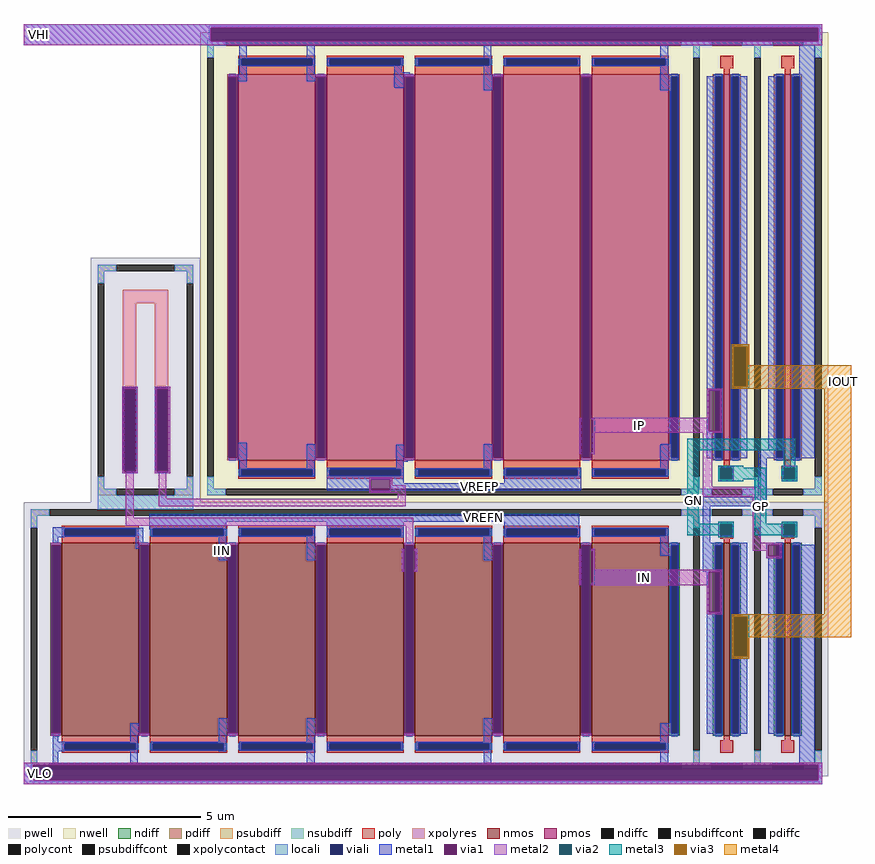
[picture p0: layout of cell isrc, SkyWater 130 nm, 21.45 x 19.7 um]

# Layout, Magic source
magic
tech sky130A
magscale 1 2
<< nwell >>
rect 716 3220 3972 5658
<< pwell >>
rect 148 3220 716 4488
rect -200 1800 3972 3220
<< nmos >>
rect -4 2010 396 3010
rect 454 2010 854 3010
rect 912 2010 1312 3010
rect 1370 2010 1770 3010
rect 1828 2010 2228 3010
rect 2286 2010 2686 3010
rect 2744 2010 3144 3010
rect 3430 2010 3460 3010
rect 3746 2010 3776 3010
<< pmos >>
rect 912 3439 1312 5439
rect 1370 3439 1770 5439
rect 1828 3439 2228 5439
rect 2286 3439 2686 5439
rect 2744 3439 3144 5439
rect 3430 3439 3460 5439
rect 3746 3439 3776 5439
<< ndiff >>
rect -62 2998 -4 3010
rect -62 2022 -50 2998
rect -16 2022 -4 2998
rect -62 2010 -4 2022
rect 396 2998 454 3010
rect 396 2022 408 2998
rect 442 2022 454 2998
rect 396 2010 454 2022
rect 854 2998 912 3010
rect 854 2022 866 2998
rect 900 2022 912 2998
rect 854 2010 912 2022
rect 1312 2998 1370 3010
rect 1312 2022 1324 2998
rect 1358 2022 1370 2998
rect 1312 2010 1370 2022
rect 1770 2998 1828 3010
rect 1770 2022 1782 2998
rect 1816 2022 1828 2998
rect 1770 2010 1828 2022
rect 2228 2998 2286 3010
rect 2228 2022 2240 2998
rect 2274 2022 2286 2998
rect 2228 2010 2286 2022
rect 2686 2998 2744 3010
rect 2686 2022 2698 2998
rect 2732 2022 2744 2998
rect 2686 2010 2744 2022
rect 3144 2998 3202 3010
rect 3144 2022 3156 2998
rect 3190 2022 3202 2998
rect 3144 2010 3202 2022
rect 3372 2998 3430 3010
rect 3372 2022 3384 2998
rect 3418 2022 3430 2998
rect 3372 2010 3430 2022
rect 3460 2998 3518 3010
rect 3460 2022 3472 2998
rect 3506 2022 3518 2998
rect 3460 2010 3518 2022
rect 3688 2998 3746 3010
rect 3688 2022 3700 2998
rect 3734 2022 3746 2998
rect 3688 2010 3746 2022
rect 3776 2998 3834 3010
rect 3776 2022 3788 2998
rect 3822 2022 3834 2998
rect 3776 2010 3834 2022
<< pdiff >>
rect 854 5427 912 5439
rect 854 3451 866 5427
rect 900 3451 912 5427
rect 854 3439 912 3451
rect 1312 5427 1370 5439
rect 1312 3451 1324 5427
rect 1358 3451 1370 5427
rect 1312 3439 1370 3451
rect 1770 5427 1828 5439
rect 1770 3451 1782 5427
rect 1816 3451 1828 5427
rect 1770 3439 1828 3451
rect 2228 5427 2286 5439
rect 2228 3451 2240 5427
rect 2274 3451 2286 5427
rect 2228 3439 2286 3451
rect 2686 5427 2744 5439
rect 2686 3451 2698 5427
rect 2732 3451 2744 5427
rect 2686 3439 2744 3451
rect 3144 5427 3202 5439
rect 3144 3451 3156 5427
rect 3190 3451 3202 5427
rect 3144 3439 3202 3451
rect 3372 5427 3430 5439
rect 3372 3451 3384 5427
rect 3418 3451 3430 5427
rect 3372 3439 3430 3451
rect 3460 5427 3518 5439
rect 3460 3451 3472 5427
rect 3506 3451 3518 5427
rect 3460 3439 3518 3451
rect 3688 5427 3746 5439
rect 3688 3451 3700 5427
rect 3734 3451 3746 5427
rect 3688 3439 3746 3451
rect 3776 5427 3834 5439
rect 3776 3451 3788 5427
rect 3822 3451 3834 5427
rect 3776 3439 3834 3451
<< ndiffc >>
rect -50 2022 -16 2998
rect 408 2022 442 2998
rect 866 2022 900 2998
rect 1324 2022 1358 2998
rect 1782 2022 1816 2998
rect 2240 2022 2274 2998
rect 2698 2022 2732 2998
rect 3156 2022 3190 2998
rect 3384 2022 3418 2998
rect 3472 2022 3506 2998
rect 3700 2022 3734 2998
rect 3788 2022 3822 2998
<< pdiffc >>
rect 866 3451 900 5427
rect 1324 3451 1358 5427
rect 1782 3451 1816 5427
rect 2240 3451 2274 5427
rect 2698 3451 2732 5427
rect 3156 3451 3190 5427
rect 3384 3451 3418 5427
rect 3472 3451 3506 5427
rect 3700 3451 3734 5427
rect 3788 3451 3822 5427
<< psubdiff >>
rect 184 4418 280 4452
rect 584 4418 680 4452
rect 184 4356 218 4418
rect 646 4356 680 4418
rect 184 3290 218 3352
rect 646 3290 680 3352
rect 184 3256 280 3290
rect 584 3256 680 3290
rect -164 3150 -68 3184
rect 3208 3150 3366 3184
rect 3524 3150 3682 3184
rect 3840 3150 3936 3184
rect -164 3088 -130 3150
rect 3270 3088 3304 3150
rect -164 1870 -130 1932
rect 3586 3088 3620 3150
rect 3270 1870 3304 1932
rect 3902 3088 3936 3150
rect 3586 1870 3620 1932
rect 3902 1870 3936 1932
rect -164 1836 -68 1870
rect 3208 1836 3366 1870
rect 3524 1836 3682 1870
rect 3840 1836 3936 1870
<< nsubdiff >>
rect 752 5588 848 5622
rect 3208 5588 3366 5622
rect 3524 5588 3682 5622
rect 3840 5588 3936 5622
rect 752 5526 786 5588
rect 3270 5526 3304 5588
rect 752 3290 786 3352
rect 3586 5526 3620 5588
rect 3270 3290 3304 3352
rect 3902 5526 3936 5588
rect 3586 3290 3620 3352
rect 3902 3290 3936 3352
rect 752 3256 848 3290
rect 3208 3256 3366 3290
rect 3524 3256 3682 3290
rect 3840 3256 3936 3290
<< psubdiffcont >>
rect 280 4418 584 4452
rect 184 3352 218 4356
rect 646 3352 680 4356
rect 280 3256 584 3290
rect -68 3150 3208 3184
rect 3366 3150 3524 3184
rect 3682 3150 3840 3184
rect -164 1932 -130 3088
rect 3270 1932 3304 3088
rect 3586 1932 3620 3088
rect 3902 1932 3936 3088
rect -68 1836 3208 1870
rect 3366 1836 3524 1870
rect 3682 1836 3840 1870
<< nsubdiffcont >>
rect 848 5588 3208 5622
rect 3366 5588 3524 5622
rect 3682 5588 3840 5622
rect 752 3352 786 5526
rect 3270 3352 3304 5526
rect 3586 3352 3620 5526
rect 3902 3352 3936 5526
rect 848 3256 3208 3290
rect 3366 3256 3524 3290
rect 3682 3256 3840 3290
<< poly >>
rect 912 5520 1312 5536
rect 912 5486 928 5520
rect 1296 5486 1312 5520
rect 912 5439 1312 5486
rect 1370 5520 1770 5536
rect 1370 5486 1386 5520
rect 1754 5486 1770 5520
rect 1370 5439 1770 5486
rect 1828 5520 2228 5536
rect 1828 5486 1844 5520
rect 2212 5486 2228 5520
rect 1828 5439 2228 5486
rect 2286 5520 2686 5536
rect 2286 5486 2302 5520
rect 2670 5486 2686 5520
rect 2286 5439 2686 5486
rect 2744 5520 3144 5536
rect 2744 5486 2760 5520
rect 3128 5486 3144 5520
rect 2744 5439 3144 5486
rect 912 3392 1312 3439
rect 912 3358 928 3392
rect 1296 3358 1312 3392
rect 912 3342 1312 3358
rect 1370 3392 1770 3439
rect 1370 3358 1386 3392
rect 1754 3358 1770 3392
rect 1370 3342 1770 3358
rect 1828 3392 2228 3439
rect 1828 3358 1844 3392
rect 2212 3358 2228 3392
rect 1828 3342 2228 3358
rect 2286 3392 2686 3439
rect 2286 3358 2302 3392
rect 2670 3358 2686 3392
rect 2286 3342 2686 3358
rect 2744 3392 3144 3439
rect 2744 3358 2760 3392
rect 3128 3358 3144 3392
rect 2744 3342 3144 3358
rect 3412 5470 3478 5536
rect 3430 5439 3460 5470
rect 3430 3408 3460 3439
rect 3412 3392 3478 3408
rect 3412 3358 3428 3392
rect 3462 3358 3478 3392
rect 3412 3342 3478 3358
rect 3728 5470 3794 5536
rect 3746 5439 3776 5470
rect 3746 3408 3776 3439
rect 3728 3392 3794 3408
rect 3728 3358 3744 3392
rect 3778 3358 3794 3392
rect 3728 3342 3794 3358
rect -4 3082 396 3098
rect -4 3048 12 3082
rect 380 3048 396 3082
rect -4 3010 396 3048
rect 454 3082 854 3098
rect 454 3048 470 3082
rect 838 3048 854 3082
rect 454 3010 854 3048
rect 912 3082 1312 3098
rect 912 3048 928 3082
rect 1296 3048 1312 3082
rect 912 3010 1312 3048
rect 1370 3082 1770 3098
rect 1370 3048 1386 3082
rect 1754 3048 1770 3082
rect 1370 3010 1770 3048
rect 1828 3082 2228 3098
rect 1828 3048 1844 3082
rect 2212 3048 2228 3082
rect 1828 3010 2228 3048
rect 2286 3082 2686 3098
rect 2286 3048 2302 3082
rect 2670 3048 2686 3082
rect 2286 3010 2686 3048
rect 2744 3082 3144 3098
rect 2744 3048 2760 3082
rect 3128 3048 3144 3082
rect 2744 3010 3144 3048
rect -4 1972 396 2010
rect -4 1938 12 1972
rect 380 1938 396 1972
rect -4 1922 396 1938
rect 454 1972 854 2010
rect 454 1938 470 1972
rect 838 1938 854 1972
rect 454 1922 854 1938
rect 912 1972 1312 2010
rect 912 1938 928 1972
rect 1296 1938 1312 1972
rect 912 1922 1312 1938
rect 1370 1972 1770 2010
rect 1370 1938 1386 1972
rect 1754 1938 1770 1972
rect 1370 1922 1770 1938
rect 1828 1972 2228 2010
rect 1828 1938 1844 1972
rect 2212 1938 2228 1972
rect 1828 1922 2228 1938
rect 2286 1972 2686 2010
rect 2286 1938 2302 1972
rect 2670 1938 2686 1972
rect 2286 1922 2686 1938
rect 2744 1972 3144 2010
rect 2744 1938 2760 1972
rect 3128 1938 3144 1972
rect 2744 1922 3144 1938
rect 3412 3082 3478 3098
rect 3412 3048 3428 3082
rect 3462 3048 3478 3082
rect 3412 3032 3478 3048
rect 3430 3010 3460 3032
rect 3430 1988 3460 2010
rect 3412 1922 3478 1988
rect 3728 3082 3794 3098
rect 3728 3048 3744 3082
rect 3778 3048 3794 3082
rect 3728 3032 3794 3048
rect 3746 3010 3776 3032
rect 3746 1988 3776 2010
rect 3728 1922 3794 1988
<< polycont >>
rect 928 5486 1296 5520
rect 1386 5486 1754 5520
rect 1844 5486 2212 5520
rect 2302 5486 2670 5520
rect 2760 5486 3128 5520
rect 928 3358 1296 3392
rect 1386 3358 1754 3392
rect 1844 3358 2212 3392
rect 2302 3358 2670 3392
rect 2760 3358 3128 3392
rect 3428 3358 3462 3392
rect 3744 3358 3778 3392
rect 12 3048 380 3082
rect 470 3048 838 3082
rect 928 3048 1296 3082
rect 1386 3048 1754 3082
rect 1844 3048 2212 3082
rect 2302 3048 2670 3082
rect 2760 3048 3128 3082
rect 12 1938 380 1972
rect 470 1938 838 1972
rect 928 1938 1296 1972
rect 1386 1938 1754 1972
rect 1844 1938 2212 1972
rect 2302 1938 2670 1972
rect 2760 1938 3128 1972
rect 3428 3048 3462 3082
rect 3744 3048 3778 3082
<< xpolycontact >>
rect 314 3386 384 3818
rect 480 3386 550 3818
<< xpolyres >>
rect 314 4252 550 4322
rect 314 3818 384 4252
rect 480 3818 550 4252
<< locali >>
rect 760 5680 3930 5690
rect 760 5622 770 5680
rect 3920 5622 3930 5680
rect 752 5610 770 5622
rect 3920 5610 3936 5622
rect 752 5588 848 5610
rect 3208 5588 3366 5610
rect 3524 5588 3682 5610
rect 3840 5588 3936 5610
rect 752 5526 786 5588
rect 184 4418 280 4452
rect 584 4418 680 4452
rect 184 4356 218 4418
rect 646 4356 680 4418
rect 310 3386 314 3810
rect 384 3386 390 3810
rect 310 3380 390 3386
rect 184 3290 218 3352
rect 646 3290 680 3352
rect 184 3256 280 3290
rect 584 3256 680 3290
rect 3270 5526 3304 5588
rect 912 5486 928 5520
rect 1296 5486 1312 5520
rect 1370 5486 1386 5520
rect 1754 5486 1770 5520
rect 1828 5486 1844 5520
rect 2212 5486 2228 5520
rect 2286 5486 2302 5520
rect 2670 5486 2686 5520
rect 2744 5486 2760 5520
rect 3128 5486 3144 5520
rect 866 5427 900 5443
rect 866 3435 900 3451
rect 1324 5427 1358 5443
rect 1324 3435 1358 3451
rect 1782 5427 1816 5443
rect 1782 3435 1816 3451
rect 2240 5427 2274 5443
rect 2240 3435 2274 3451
rect 2698 5427 2732 5443
rect 2698 3435 2732 3451
rect 3156 5427 3190 5443
rect 3156 3435 3190 3451
rect 912 3358 928 3392
rect 1296 3358 1312 3392
rect 1370 3358 1386 3392
rect 1754 3358 1770 3392
rect 1828 3358 1844 3392
rect 2212 3358 2228 3392
rect 2286 3358 2302 3392
rect 2670 3358 2686 3392
rect 2744 3358 2760 3392
rect 3128 3358 3144 3392
rect 752 3290 786 3352
rect 3586 5526 3620 5588
rect 3384 5427 3418 5443
rect 3384 3435 3418 3451
rect 3472 5427 3506 5443
rect 3472 3435 3506 3451
rect 3412 3358 3428 3392
rect 3462 3358 3478 3392
rect 3270 3290 3304 3352
rect 3902 5526 3936 5588
rect 3700 5427 3734 5443
rect 3700 3435 3734 3451
rect 3788 5427 3822 5443
rect 3788 3435 3822 3451
rect 3728 3358 3744 3392
rect 3778 3358 3794 3392
rect 3586 3290 3620 3352
rect 3902 3290 3936 3352
rect 752 3256 848 3290
rect 3208 3256 3366 3290
rect 3524 3256 3682 3290
rect 3840 3256 3936 3290
rect 184 3184 680 3256
rect -164 3150 -68 3184
rect 3208 3150 3366 3184
rect 3524 3150 3682 3184
rect 3840 3150 3936 3184
rect -164 3088 -130 3150
rect 3270 3088 3304 3150
rect -4 3048 12 3082
rect 380 3048 396 3082
rect 454 3048 470 3082
rect 838 3048 854 3082
rect 912 3048 928 3082
rect 1296 3048 1312 3082
rect 1370 3048 1386 3082
rect 1754 3048 1770 3082
rect 1828 3048 1844 3082
rect 2212 3048 2228 3082
rect 2286 3048 2302 3082
rect 2670 3048 2686 3082
rect 2744 3048 2760 3082
rect 3128 3048 3144 3082
rect -50 2998 -16 3014
rect -50 2006 -16 2022
rect 408 2998 442 3014
rect 408 2006 442 2022
rect 866 2998 900 3014
rect 866 2006 900 2022
rect 1324 2998 1358 3014
rect 1324 2006 1358 2022
rect 1782 2998 1816 3014
rect 1782 2006 1816 2022
rect 2240 2998 2274 3014
rect 2240 2006 2274 2022
rect 2698 2998 2732 3014
rect 2698 2006 2732 2022
rect 3156 2998 3190 3014
rect 3156 2006 3190 2022
rect -4 1938 12 1972
rect 380 1938 396 1972
rect 454 1938 470 1972
rect 838 1938 854 1972
rect 912 1938 928 1972
rect 1296 1938 1312 1972
rect 1370 1938 1386 1972
rect 1754 1938 1770 1972
rect 1828 1938 1844 1972
rect 2212 1938 2228 1972
rect 2286 1938 2302 1972
rect 2670 1938 2686 1972
rect 2744 1938 2760 1972
rect 3128 1938 3144 1972
rect -164 1870 -130 1932
rect 3586 3088 3620 3150
rect 3412 3048 3428 3082
rect 3462 3048 3478 3082
rect 3384 2998 3418 3014
rect 3384 2006 3418 2022
rect 3472 2998 3506 3014
rect 3472 2006 3506 2022
rect 3270 1870 3304 1932
rect 3902 3088 3936 3150
rect 3728 3048 3744 3082
rect 3778 3048 3794 3082
rect 3700 2998 3734 3014
rect 3700 2006 3734 2022
rect 3788 2998 3822 3014
rect 3788 2006 3822 2022
rect 3586 1870 3620 1932
rect 3902 1870 3936 1932
rect -164 1860 -68 1870
rect 3208 1860 3366 1870
rect 3524 1860 3682 1870
rect 3840 1860 3940 1870
rect -164 1840 -150 1860
rect -170 1780 -150 1840
rect 3920 1780 3940 1860
rect -170 1770 3940 1780
<< viali >>
rect 770 5622 3920 5680
rect 770 5610 848 5622
rect 848 5610 3208 5622
rect 3208 5610 3366 5622
rect 3366 5610 3524 5622
rect 3524 5610 3682 5622
rect 3682 5610 3840 5622
rect 3840 5610 3920 5622
rect 320 3390 380 3800
rect 490 3390 550 3800
rect 928 5486 1296 5520
rect 1386 5486 1754 5520
rect 1844 5486 2212 5520
rect 2302 5486 2670 5520
rect 2760 5486 3128 5520
rect 866 3451 900 5427
rect 1324 3451 1358 5427
rect 1782 3451 1816 5427
rect 2240 3451 2274 5427
rect 2698 3451 2732 5427
rect 3156 3451 3190 5427
rect 928 3358 1296 3392
rect 1386 3358 1754 3392
rect 1844 3358 2212 3392
rect 2302 3358 2670 3392
rect 2760 3358 3128 3392
rect 3384 3451 3418 5427
rect 3472 3451 3506 5427
rect 3428 3358 3462 3392
rect 3700 3451 3734 5427
rect 3788 3451 3822 5427
rect 3744 3358 3778 3392
rect 12 3048 380 3082
rect 470 3048 838 3082
rect 928 3048 1296 3082
rect 1386 3048 1754 3082
rect 1844 3048 2212 3082
rect 2302 3048 2670 3082
rect 2760 3048 3128 3082
rect -50 2022 -16 2998
rect 408 2022 442 2998
rect 866 2022 900 2998
rect 1324 2022 1358 2998
rect 1782 2022 1816 2998
rect 2240 2022 2274 2998
rect 2698 2022 2732 2998
rect 3156 2022 3190 2998
rect 12 1938 380 1972
rect 470 1938 838 1972
rect 928 1938 1296 1972
rect 1386 1938 1754 1972
rect 1844 1938 2212 1972
rect 2302 1938 2670 1972
rect 2760 1938 3128 1972
rect 3428 3048 3462 3082
rect 3384 2022 3418 2998
rect 3472 2022 3506 2998
rect 3744 3048 3778 3082
rect 3700 2022 3734 2998
rect 3788 2022 3822 2998
rect -150 1836 -68 1860
rect -68 1836 3208 1860
rect 3208 1836 3366 1860
rect 3366 1836 3524 1860
rect 3524 1836 3682 1860
rect 3682 1836 3840 1860
rect 3840 1836 3920 1860
rect -150 1780 3920 1836
<< metal1 >>
rect -200 5680 3940 5700
rect -200 5610 770 5680
rect 3920 5610 3940 5680
rect -200 5590 3940 5610
rect 916 5526 956 5590
rect 1268 5526 1308 5590
rect 2184 5526 2224 5590
rect 3100 5526 3140 5590
rect 916 5520 1308 5526
rect 916 5486 928 5520
rect 1296 5486 1308 5520
rect 916 5480 1308 5486
rect 1374 5520 1766 5526
rect 1374 5486 1386 5520
rect 1754 5486 1766 5520
rect 1374 5480 1766 5486
rect 1832 5520 2224 5526
rect 1832 5486 1844 5520
rect 2212 5486 2224 5520
rect 1832 5480 2224 5486
rect 2290 5520 2682 5526
rect 2290 5486 2302 5520
rect 2670 5486 2682 5520
rect 2290 5480 2682 5486
rect 2748 5520 3140 5526
rect 2748 5486 2760 5520
rect 3128 5486 3140 5520
rect 2748 5480 3140 5486
rect 916 5439 956 5480
rect 857 5427 956 5439
rect 310 3810 390 3820
rect 310 3380 320 3810
rect 380 3380 390 3810
rect 310 3370 390 3380
rect 480 3810 560 3820
rect 480 3380 490 3810
rect 550 3380 560 3810
rect 909 5403 956 5427
rect 1268 5439 1308 5480
rect 1720 5450 1760 5480
rect 1720 5439 1800 5450
rect 2184 5439 2224 5480
rect 3100 5439 3140 5480
rect 3820 5439 3900 5590
rect 1268 5427 1367 5439
rect 1268 5403 1315 5427
rect 909 3451 956 3530
rect 857 3439 956 3451
rect 480 3370 560 3380
rect 916 3398 956 3439
rect 1268 3451 1315 3521
rect 1720 5427 1825 5439
rect 1720 5370 1773 5427
rect 1268 3439 1367 3451
rect 1730 3451 1773 3520
rect 2184 5427 2283 5439
rect 2184 5357 2231 5427
rect 1730 3439 1825 3451
rect 2184 3451 2231 3521
rect 2689 5427 2741 5439
rect 2680 3470 2689 3660
rect 2184 3439 2283 3451
rect 3100 5427 3196 5439
rect 3378 5430 3424 5439
rect 3100 5357 3156 5427
rect 2741 3650 2760 3660
rect 2750 3480 2760 3650
rect 3150 3521 3156 5357
rect 2741 3470 2760 3480
rect 2689 3439 2741 3451
rect 3100 3451 3156 3521
rect 3190 3451 3196 5427
rect 3100 3439 3196 3451
rect 3340 5427 3424 5430
rect 3340 3800 3384 5427
rect 3340 3590 3350 3800
rect 3340 3451 3384 3590
rect 3418 3451 3424 5427
rect 3340 3450 3424 3451
rect 3378 3439 3424 3450
rect 3466 5430 3512 5439
rect 3694 5430 3740 5439
rect 3466 5427 3550 5430
rect 3466 3451 3472 5427
rect 3506 4040 3550 5427
rect 3660 5427 3740 5430
rect 3506 4030 3560 4040
rect 3540 3820 3560 4030
rect 3506 3810 3560 3820
rect 3506 3451 3550 3810
rect 3660 3492 3700 5427
rect 3466 3450 3550 3451
rect 3608 3451 3700 3492
rect 3734 3451 3740 5427
rect 3466 3439 3512 3450
rect 3608 3448 3740 3451
rect 1268 3398 1308 3439
rect 1730 3430 1790 3439
rect 1730 3400 1770 3430
rect 916 3392 1308 3398
rect 916 3358 928 3392
rect 1296 3358 1308 3392
rect 916 3352 1308 3358
rect 1370 3392 1770 3400
rect 2184 3398 2224 3439
rect 1370 3358 1386 3392
rect 1754 3358 1770 3392
rect 1370 3340 1770 3358
rect 1832 3392 2224 3398
rect 1832 3358 1844 3392
rect 2212 3358 2224 3392
rect 1832 3352 2224 3358
rect 2290 3392 2690 3400
rect 3100 3398 3140 3439
rect 2290 3358 2302 3392
rect 2670 3358 2690 3392
rect 1370 3280 1600 3340
rect 1700 3320 1770 3340
rect 2290 3320 2690 3358
rect 2748 3392 3140 3398
rect 2748 3358 2760 3392
rect 3128 3358 3140 3392
rect 2748 3352 3140 3358
rect 3400 3400 3480 3410
rect 3400 3340 3410 3400
rect 3470 3340 3480 3400
rect 3400 3330 3480 3340
rect 1700 3280 2690 3320
rect 3608 3250 3652 3448
rect 3694 3439 3740 3448
rect 3782 5427 3900 5439
rect 3782 3451 3788 5427
rect 3822 3451 3900 5427
rect 3782 3450 3900 3451
rect 3782 3439 3828 3450
rect 3730 3400 3810 3410
rect 3730 3340 3740 3400
rect 3800 3340 3810 3400
rect 3730 3330 3810 3340
rect 3320 3200 3652 3250
rect 450 3120 2680 3160
rect -50 3088 10 3090
rect -50 3082 420 3088
rect -50 3048 12 3082
rect 380 3048 420 3082
rect 450 3082 850 3120
rect 450 3080 470 3082
rect -50 3042 420 3048
rect 458 3048 470 3080
rect 838 3048 850 3082
rect 458 3042 850 3048
rect 916 3082 1308 3088
rect 916 3048 928 3082
rect 1296 3048 1308 3082
rect 916 3042 1308 3048
rect -50 3040 10 3042
rect -50 3010 -20 3040
rect 380 3010 420 3042
rect 810 3010 850 3042
rect 1268 3011 1308 3042
rect 1370 3082 1770 3120
rect 2290 3088 2680 3120
rect 1370 3048 1386 3082
rect 1754 3048 1770 3082
rect 1370 3040 1770 3048
rect 1832 3082 2224 3088
rect 1832 3048 1844 3082
rect 2212 3048 2224 3082
rect 1832 3042 2224 3048
rect 1268 3010 1325 3011
rect 2184 3010 2224 3042
rect 2290 3082 2682 3088
rect 2290 3048 2302 3082
rect 2670 3048 2682 3082
rect 2290 3042 2682 3048
rect 2748 3082 3140 3088
rect 2748 3048 2760 3082
rect 3128 3048 3140 3082
rect 2748 3042 3140 3048
rect 2290 3040 2680 3042
rect 3100 3010 3140 3042
rect 3320 3010 3360 3200
rect 3622 3198 3652 3200
rect 3400 3110 3480 3120
rect 3400 3050 3410 3110
rect 3470 3050 3480 3110
rect 3400 3048 3428 3050
rect 3462 3048 3480 3050
rect 3400 3040 3480 3048
rect 3730 3110 3810 3120
rect 3730 3050 3740 3110
rect 3800 3050 3810 3110
rect 3730 3048 3744 3050
rect 3778 3048 3810 3050
rect 3730 3040 3810 3048
rect -59 2998 -7 3010
rect 380 2998 451 3010
rect 380 2980 399 2998
rect -59 2010 -7 2022
rect 352 2022 399 2076
rect 810 2998 909 3010
rect 810 2920 857 2998
rect 352 2010 451 2022
rect 810 2022 857 2100
rect 1268 2998 1367 3010
rect 1268 2920 1315 2998
rect 810 2010 909 2022
rect 1268 2022 1315 2101
rect 1773 2998 1825 3010
rect 1760 2970 1773 2980
rect 1760 2870 1770 2970
rect 1760 2860 1773 2870
rect 1268 2010 1367 2022
rect 2184 2998 2283 3010
rect 1825 2970 1840 2980
rect 1830 2870 1840 2970
rect 2184 2919 2231 2998
rect 1825 2860 1840 2870
rect 1773 2010 1825 2022
rect 2184 2022 2231 2101
rect 2689 2998 2741 3010
rect 2680 2790 2689 2980
rect 2184 2010 2283 2022
rect 3100 2998 3196 3010
rect 2741 2970 2760 2980
rect 2750 2800 2760 2970
rect 3100 2944 3156 2998
rect 2741 2790 2760 2800
rect 3150 2076 3156 2944
rect 2689 2010 2741 2022
rect 3100 2022 3156 2076
rect 3190 2022 3196 2998
rect 3320 2998 3424 3010
rect 3320 2860 3384 2998
rect 3100 2010 3196 2022
rect 3340 2650 3350 2860
rect 3340 2022 3384 2650
rect 3418 2022 3424 2998
rect 3340 2020 3424 2022
rect 3378 2010 3424 2020
rect 3466 2998 3550 3010
rect 3466 2022 3472 2998
rect 3506 2640 3550 2998
rect 3650 3000 3740 3010
rect 3650 2940 3660 3000
rect 3720 2998 3740 3000
rect 3650 2930 3700 2940
rect 3506 2630 3560 2640
rect 3550 2420 3560 2630
rect 3506 2410 3560 2420
rect 3506 2022 3550 2410
rect 3466 2020 3550 2022
rect 3660 2022 3700 2930
rect 3734 2022 3740 2998
rect 3660 2020 3740 2022
rect 3466 2010 3512 2020
rect 3694 2010 3740 2020
rect 3782 3000 3828 3010
rect 3782 2998 3900 3000
rect 3782 2022 3788 2998
rect 3822 2022 3900 2998
rect 3782 2010 3900 2022
rect -50 1980 -20 2010
rect -50 1978 10 1980
rect 352 1978 392 2010
rect 810 1978 850 2010
rect 1268 1978 1308 2010
rect 2184 1978 2224 2010
rect 3100 1978 3140 2010
rect -50 1972 392 1978
rect -50 1938 12 1972
rect 380 1938 392 1972
rect -50 1932 392 1938
rect 458 1972 850 1978
rect 458 1938 470 1972
rect 838 1938 850 1972
rect 458 1932 850 1938
rect 916 1972 1308 1978
rect 916 1938 928 1972
rect 1296 1938 1308 1972
rect 916 1932 1308 1938
rect 1374 1972 1766 1978
rect 1374 1938 1386 1972
rect 1754 1938 1766 1972
rect 1374 1932 1766 1938
rect 1832 1972 2224 1978
rect 1832 1938 1844 1972
rect 2212 1938 2224 1972
rect 1832 1932 2224 1938
rect 2290 1972 2682 1978
rect 2290 1938 2302 1972
rect 2670 1938 2682 1972
rect 2290 1932 2682 1938
rect 2748 1972 3140 1978
rect 2748 1938 2760 1972
rect 3128 1938 3140 1972
rect 2748 1932 3140 1938
rect -50 1930 10 1932
rect -50 1870 -20 1930
rect 352 1870 392 1932
rect 810 1930 850 1932
rect 1268 1870 1308 1932
rect 2184 1870 2224 1932
rect 3100 1870 3140 1932
rect 3820 1870 3900 2010
rect -200 1860 3940 1870
rect -200 1780 -150 1860
rect 3920 1780 3940 1860
rect -200 1760 3940 1780
<< via1 >>
rect 770 5610 3920 5680
rect 320 3800 380 3810
rect 320 3390 380 3800
rect 320 3380 380 3390
rect 490 3800 550 3810
rect 490 3390 550 3800
rect 490 3380 550 3390
rect 857 3451 866 5427
rect 866 3451 900 5427
rect 900 3451 909 5427
rect 1315 3451 1324 5427
rect 1324 3451 1358 5427
rect 1358 3451 1367 5427
rect 1773 3451 1782 5427
rect 1782 3451 1816 5427
rect 1816 3451 1825 5427
rect 2231 3451 2240 5427
rect 2240 3451 2274 5427
rect 2274 3451 2283 5427
rect 2689 3451 2698 5427
rect 2698 3451 2732 5427
rect 2732 3650 2741 5427
rect 2732 3480 2750 3650
rect 2732 3451 2741 3480
rect 3350 3590 3384 3800
rect 3384 3590 3410 3800
rect 3480 3820 3506 4030
rect 3506 3820 3540 4030
rect 1600 3280 1700 3340
rect 3410 3392 3470 3400
rect 3410 3358 3428 3392
rect 3428 3358 3462 3392
rect 3462 3358 3470 3392
rect 3410 3340 3470 3358
rect 3740 3392 3800 3400
rect 3740 3358 3744 3392
rect 3744 3358 3778 3392
rect 3778 3358 3800 3392
rect 3740 3340 3800 3358
rect 3410 3082 3470 3110
rect 3410 3050 3428 3082
rect 3428 3050 3462 3082
rect 3462 3050 3470 3082
rect 3740 3082 3800 3110
rect 3740 3050 3744 3082
rect 3744 3050 3778 3082
rect 3778 3050 3800 3082
rect -59 2022 -50 2998
rect -50 2022 -16 2998
rect -16 2022 -7 2998
rect 399 2022 408 2998
rect 408 2022 442 2998
rect 442 2022 451 2998
rect 857 2022 866 2998
rect 866 2022 900 2998
rect 900 2022 909 2998
rect 1315 2022 1324 2998
rect 1324 2022 1358 2998
rect 1358 2022 1367 2998
rect 1773 2970 1782 2998
rect 1770 2870 1782 2970
rect 1773 2022 1782 2870
rect 1782 2022 1816 2998
rect 1816 2970 1825 2998
rect 1816 2870 1830 2970
rect 1816 2022 1825 2870
rect 2231 2022 2240 2998
rect 2240 2022 2274 2998
rect 2274 2022 2283 2998
rect 2689 2022 2698 2998
rect 2698 2022 2732 2998
rect 2732 2970 2741 2998
rect 2732 2800 2750 2970
rect 2732 2022 2741 2800
rect 3350 2650 3384 2860
rect 3384 2650 3410 2860
rect 3660 2998 3720 3000
rect 3660 2940 3700 2998
rect 3700 2940 3720 2998
rect 3480 2420 3506 2630
rect 3506 2420 3550 2630
rect -150 1780 3920 1860
<< metal2 >>
rect -200 5680 3940 5700
rect -200 5610 770 5680
rect 3920 5610 3940 5680
rect -200 5590 3940 5610
rect 857 5427 909 5439
rect 310 3810 390 3820
rect 310 3380 320 3810
rect 380 3380 390 3810
rect 310 3370 390 3380
rect 480 3810 560 3820
rect 480 3380 490 3810
rect 550 3380 560 3810
rect 857 3439 909 3451
rect 1315 5427 1367 5439
rect 1315 3439 1367 3451
rect 1773 5427 1825 5439
rect 1773 3439 1825 3451
rect 2231 5427 2283 5439
rect 2689 5427 2741 5439
rect 2680 3470 2689 3660
rect 3470 4030 3560 4040
rect 3470 3820 3480 4030
rect 3540 3820 3560 4030
rect 3470 3810 3560 3820
rect 3340 3800 3420 3810
rect 3340 3660 3350 3800
rect 2741 3650 3350 3660
rect 2750 3590 3350 3650
rect 3410 3590 3420 3800
rect 2750 3580 3420 3590
rect 2750 3480 2760 3580
rect 2231 3439 2283 3451
rect 2741 3470 2760 3480
rect 2689 3439 2741 3451
rect 480 3370 560 3380
rect 330 3140 370 3370
rect 500 3240 540 3370
rect 1590 3340 1710 3350
rect 1590 3280 1600 3340
rect 1700 3310 1710 3340
rect 1700 3280 1780 3310
rect 1590 3270 1780 3280
rect 1740 3240 1780 3270
rect 3320 3300 3370 3580
rect 3400 3400 3480 3410
rect 3400 3340 3410 3400
rect 3470 3340 3480 3400
rect 3400 3330 3480 3340
rect 3730 3400 3810 3410
rect 3730 3340 3740 3400
rect 3800 3340 3810 3400
rect 3730 3330 3810 3340
rect 3320 3250 3620 3300
rect 500 3200 1780 3240
rect 330 3100 1820 3140
rect 1780 3010 1820 3100
rect 3400 3110 3480 3120
rect 3400 3050 3410 3110
rect 3470 3050 3480 3110
rect 3400 3040 3480 3050
rect 3580 3010 3620 3250
rect 3730 3110 3810 3120
rect 3730 3050 3740 3110
rect 3800 3050 3810 3110
rect 3730 3040 3810 3050
rect -59 2998 -7 3010
rect -59 2010 -7 2022
rect 399 2998 451 3010
rect 399 2010 451 2022
rect 857 2998 909 3010
rect 857 2010 909 2022
rect 1315 2998 1367 3010
rect 1773 2998 1825 3010
rect 1760 2970 1773 2980
rect 2231 2998 2283 3010
rect 1825 2970 1840 2980
rect 1760 2870 1770 2970
rect 1830 2870 1840 2970
rect 1760 2860 1773 2870
rect 1315 2010 1367 2022
rect 1825 2860 1840 2870
rect 1773 2010 1825 2022
rect 2689 2998 2741 3010
rect 2680 2790 2689 2980
rect 3580 3000 3730 3010
rect 2741 2970 2760 2980
rect 3580 2970 3660 3000
rect 2750 2870 2760 2970
rect 3650 2940 3660 2970
rect 3720 2940 3730 3000
rect 3650 2930 3730 2940
rect 2750 2860 3420 2870
rect 2750 2800 3350 2860
rect 2231 2010 2283 2022
rect 2741 2790 3350 2800
rect 3340 2650 3350 2790
rect 3410 2650 3420 2860
rect 3340 2640 3420 2650
rect 3470 2630 3560 2640
rect 3470 2420 3480 2630
rect 3550 2420 3560 2630
rect 3470 2410 3560 2420
rect 2689 2010 2741 2022
rect -200 1860 3940 1870
rect -200 1780 -150 1860
rect 3920 1780 3940 1860
rect -200 1760 3940 1780
<< via2 >>
rect 3480 3820 3540 4030
rect 3410 3340 3470 3400
rect 3740 3340 3800 3400
rect 3410 3050 3470 3110
rect 3740 3050 3800 3110
rect 3480 2420 3550 2630
<< metal3 >>
rect 3470 4030 3560 4040
rect 3470 3820 3480 4030
rect 3550 3820 3560 4030
rect 3470 3810 3560 3820
rect 3240 3490 3800 3550
rect 3240 3110 3300 3490
rect 3740 3410 3800 3490
rect 3400 3400 3530 3410
rect 3730 3400 3810 3410
rect 3400 3340 3410 3400
rect 3470 3340 3650 3400
rect 3400 3330 3530 3340
rect 3400 3110 3480 3120
rect 3240 3050 3410 3110
rect 3470 3050 3480 3110
rect 3590 3110 3650 3340
rect 3730 3340 3740 3400
rect 3800 3340 3810 3400
rect 3730 3330 3810 3340
rect 3730 3110 3810 3120
rect 3590 3050 3740 3110
rect 3800 3050 3810 3110
rect 3400 3040 3480 3050
rect 3730 3040 3810 3050
rect 3470 2630 3560 2640
rect 3470 2420 3480 2630
rect 3550 2420 3560 2630
rect 3470 2410 3560 2420
<< via3 >>
rect 3480 3820 3540 4030
rect 3540 3820 3550 4030
rect 3480 2420 3550 2630
<< metal4 >>
rect 3470 4030 3560 4040
rect 3470 3820 3480 4030
rect 3550 3930 3560 4030
rect 3550 3820 4090 3930
rect 3470 3810 4090 3820
rect 3950 2640 4090 3810
rect 3470 2630 4090 2640
rect 3470 2420 3480 2630
rect 3550 2520 4090 2630
rect 3550 2420 3560 2520
rect 3470 2410 3560 2420
<< labels >>
rlabel metal4 4010 3760 4090 3930 1 IOUT
rlabel metal3 3240 3210 3300 3250 1 GN
rlabel metal3 3590 3180 3650 3220 1 GP
rlabel metal1 810 2920 850 3020 1 IIN
rlabel metal2 -200 5590 -40 5700 1 VHI
rlabel metal2 -200 1760 -40 1870 1 VLO
rlabel metal2 2950 3580 3030 3660 1 IP
rlabel metal2 2980 2790 3060 2870 1 IN
rlabel metal1 2150 3120 2220 3160 1 VREFN
rlabel metal1 2130 3280 2200 3320 1 VREFP
<< end >>
